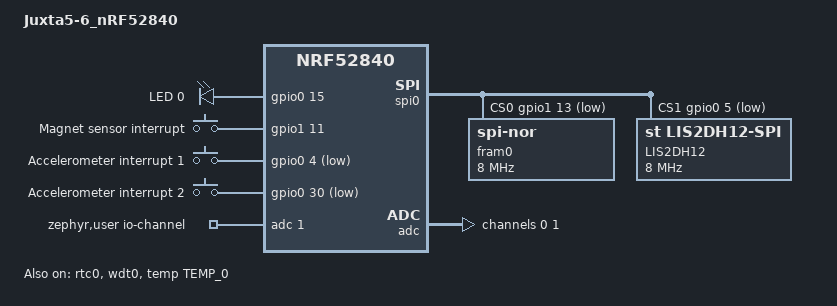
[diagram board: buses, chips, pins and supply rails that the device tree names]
/dts-v1/;
#include <nordic/nrf52840_qiaa.dtsi>
#include "Juxta5-6_nRF52840-pinctrl.dtsi"

/ {
	model = "Juxta5-6_nRF52840";
	compatible = "NeurotechHub,Juxta5-6_nRF52840";

	chosen {
		zephyr,sram = &sram0;
		zephyr,flash = &flash0;
		zephyr,code-partition = &slot0_partition;
	};

	leds {
		compatible = "gpio-leds";
		led0: led_0 {
			gpios = <&gpio0 15 GPIO_ACTIVE_HIGH>;
			label = "LED 0";
		};
	};

	gpio_keys {
		compatible = "gpio-keys";
		magnet_sensor: magnet_sensor {
			gpios = <&gpio1 11 GPIO_ACTIVE_HIGH>;
			label = "Magnet sensor interrupt";
		};
		accel_int: accel_int {
			gpios = <&gpio0 4 GPIO_ACTIVE_LOW>;
			label = "Accelerometer interrupt 1";
		};
		accel_int2: accel_int2 {
			gpios = <&gpio0 30 GPIO_ACTIVE_LOW>;
			label = "Accelerometer interrupt 2";
		};
	};

	aliases {
		led0 = &led0;
		magnet-sensor = &magnet_sensor;
		accel-int = &accel_int;
		accel-int2 = &accel_int2;
		spi-fram = &fram0;
		spi-accel = &accel0;
		rtc = &rtc0;
	};

	/* Standard VDD measurement for battery monitoring */
	zephyr,user {
		io-channels = <&adc 1>;
	};
};

&gpio0 {
	status = "okay";
};

&gpio1 {
	status = "okay";
};

&gpiote {
	status = "okay";
};

&rtc0 {
	status = "okay";
};

&wdt0 {
	status = "okay";
};

&temp {
	status = "okay";
	label = "TEMP_0";
};

&spi0 {
	compatible = "nordic,nrf-spim";
	status = "okay";
	
	pinctrl-0 = <&spi0_default>;
	pinctrl-1 = <&spi0_sleep>;
	pinctrl-names = "default", "sleep";
	
	cs-gpios = <&gpio1 13 GPIO_ACTIVE_LOW>,  /* FRAM CS */
		   <&gpio0 5 GPIO_ACTIVE_LOW>;   /* Accelerometer CS */
	
	fram0: fram@0 {
		compatible = "jedec,spi-nor";
		reg = <0>;
		spi-max-frequency = <8000000>; /* 8MHz - standard SPI clock */
		size = <DT_SIZE_K(128)>; /* MB85RS1MTPW-G-APEWE1 is 1Mbit = 128KB */
		has-dpd;
		jedec-id = [04 7F 27];
	};

	/* LIS2DH12 accelerometer - using custom driver */
	accel0: accel@1 {
		compatible = "st,lis2dh12-spi";
		reg = <1>;
		spi-max-frequency = <8000000>;
		label = "LIS2DH12";
	};
};

&adc {
	status = "okay";
	
	#address-cells = <1>;
	#size-cells = <0>;
	
	channel@0 {
		reg = <0>;
		zephyr,gain = "ADC_GAIN_1_6";
		zephyr,reference = "ADC_REF_INTERNAL";
		zephyr,acquisition-time = <ADC_ACQ_TIME_DEFAULT>;
		zephyr,input-positive = <NRF_SAADC_AIN1>; /* P0.03 */
		zephyr,input-negative = <NRF_SAADC_AIN0>; /* P0.02 */
		zephyr,resolution = <12>;
		zephyr,oversampling = <8>;
	};

	/* VDD measurement for battery monitoring */
	channel@1 {
		reg = <1>;
		zephyr,gain = "ADC_GAIN_1_6";
		zephyr,reference = "ADC_REF_INTERNAL";
		zephyr,acquisition-time = <ADC_ACQ_TIME(ADC_ACQ_TIME_MICROSECONDS, 40)>;
		zephyr,input-positive = <NRF_SAADC_VDD>;
		zephyr,resolution = <14>;
		zephyr,oversampling = <8>;
	};
};

&flash0 {
	partitions {
		compatible = "fixed-partitions";
		#address-cells = <1>;
		#size-cells = <1>;

		boot_partition: partition@0 {
			label = "mcuboot";
			reg = <0x00000000 DT_SIZE_K(48)>;
		};

		slot0_partition: partition@c000 {
			label = "image-0";
			reg = <0x0000c000 DT_SIZE_K(464)>;
		};

		slot1_partition: partition@80000 {
			label = "image-1";
			reg = <0x00080000 DT_SIZE_K(464)>;
		};

		storage_partition: partition@f0000 {
			label = "storage";
			reg = <0x000f0000 DT_SIZE_K(64)>;
		};
	};
}; 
